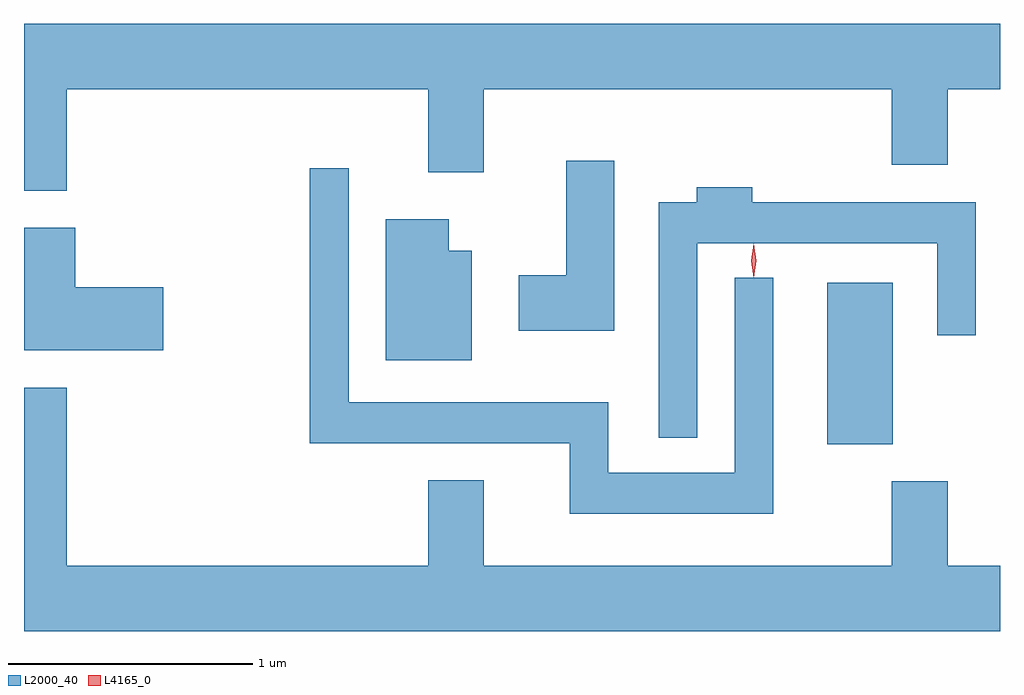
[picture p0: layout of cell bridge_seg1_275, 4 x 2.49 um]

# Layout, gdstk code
import gdstk
lib = gdstk.Library(unit=1e-6, precision=1e-09)
def R(c, l, rs):  # rectangles x0, y0, x1, y1
    for r in rs: c.add(gdstk.rectangle(r[:2], r[2:], *l))
def P(c, l, *ps):  # polygons
    for p in ps: c.add(gdstk.Polygon(p, *l))
L2000_40 = (2000, 40)
L4165_0 = (4165, 0)

bridge_seg1_275 = lib.new_cell('bridge_seg1_275')
R(bridge_seg1_275, L2000_40, [(851.286,898.121,851.554,898.784)])
P(bridge_seg1_275, L2000_40, [(848.169,899.576),(849.651,899.576),(849.651,899.236),(849.879,899.236),(849.879,899.576),(851.551,899.576),(851.551,899.266),(851.779,899.266),(851.779,899.576),(851.994,899.576),(851.994,899.844),(847.994,899.844),(847.994,899.161),(848.169,899.161)],
  [(850.414,899.284),(850.216,899.284),(850.216,898.814),(850.021,898.814),(850.021,898.586),(850.414,898.586)],
  [(851.064,898.803),(850.906,898.803),(850.906,898.004),(850.389,898.004),(850.389,898.294),(849.324,898.294),(849.324,899.253),(849.166,899.253),(849.166,898.126),(850.231,898.126),(850.231,897.836),(851.064,897.836)],
  [(850.754,898.946),(851.736,898.946),(851.736,898.568),(851.894,898.568),(851.894,899.114),(850.979,899.114),(850.979,899.174),(850.751,899.174),(850.751,899.114),(850.596,899.114),(850.596,898.148),(850.754,898.148)],
  [(849.829,898.914),(849.734,898.914),(849.734,899.044),(849.476,899.044),(849.476,898.466),(849.829,898.466)],
  [(848.564,898.764),(848.204,898.764),(848.204,899.009),(847.994,899.009),(847.994,898.506),(848.564,898.506)],
  [(851.994,897.624),(851.779,897.624),(851.779,897.969),(851.551,897.969),(851.551,897.624),(849.879,897.624),(849.879,897.974),(849.651,897.974),(849.651,897.624),(848.169,897.624),(848.169,898.354),(847.994,898.354),(847.994,897.356),(851.994,897.356)])
P(bridge_seg1_275, L4165_0, [(850.984,898.807),(850.975,898.874),(850.984,898.94),(850.985,898.941),(850.985,898.94),(850.995,898.874),(850.985,898.807),(850.985,898.807)],
  [(850.984,898.804),(850.975,898.873),(850.984,898.943),(850.985,898.943),(850.985,898.943),(850.995,898.873),(850.985,898.804),(850.985,898.804)])

lib.write_gds('bridge_seg1_275.gds')
